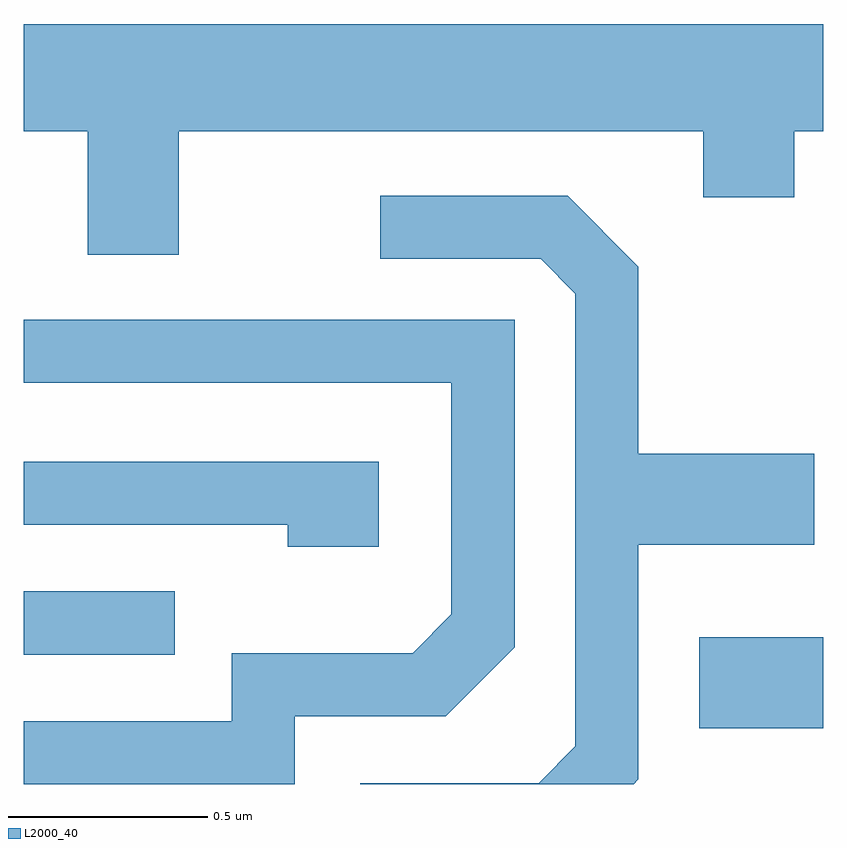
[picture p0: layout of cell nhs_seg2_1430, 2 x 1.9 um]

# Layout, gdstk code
import gdstk
lib = gdstk.Library(unit=1e-6, precision=1e-09)
def R(c, l, rs):  # rectangles x0, y0, x1, y1
    for r in rs: c.add(gdstk.rectangle(r[:2], r[2:], *l))
def P(c, l, *ps):  # polygons
    for p in ps: c.add(gdstk.Polygon(p, *l))
L2000_40 = (2000, 40)

nhs_seg2_1430 = lib.new_cell('nhs_seg2_1430')
R(nhs_seg2_1430, L2000_40, [(197.301,1037.941,197.611,1038.169), (195.611,1038.126,195.988,1038.284)])
P(nhs_seg2_1430, L2000_40, [(195.999,1039.436),(197.311,1039.436),(197.311,1039.271),(197.539,1039.271),(197.539,1039.436),(197.611,1039.436),(197.611,1039.704),(195.611,1039.704),(195.611,1039.436),(195.771,1039.436),(195.771,1039.126),(195.999,1039.126)],
  [(197.149,1037.814),(197.149,1038.401),(197.589,1038.401),(197.589,1038.629),(197.149,1038.629),(197.149,1039.097),(196.972,1039.274),(196.503,1039.274),(196.503,1039.116),(196.904,1039.116),(196.991,1039.029),(196.991,1037.897),(196.899,1037.804),(196.453,1037.804),(196.453,1037.802),(197.137,1037.802)],
  [(196.289,1037.971),(196.667,1037.971),(196.839,1038.144),(196.839,1038.964),(195.611,1038.964),(195.611,1038.806),(196.681,1038.806),(196.681,1038.227),(196.584,1038.129),(196.131,1038.129),(196.131,1037.959),(195.611,1037.959),(195.611,1037.802),(196.289,1037.802)],
  [(196.499,1038.609),(195.611,1038.609),(195.611,1038.451),(196.271,1038.451),(196.271,1038.396),(196.499,1038.396)])

lib.write_gds('nhs_seg2_1430.gds')
